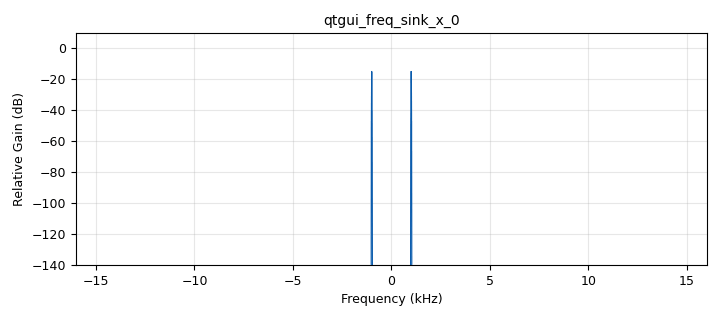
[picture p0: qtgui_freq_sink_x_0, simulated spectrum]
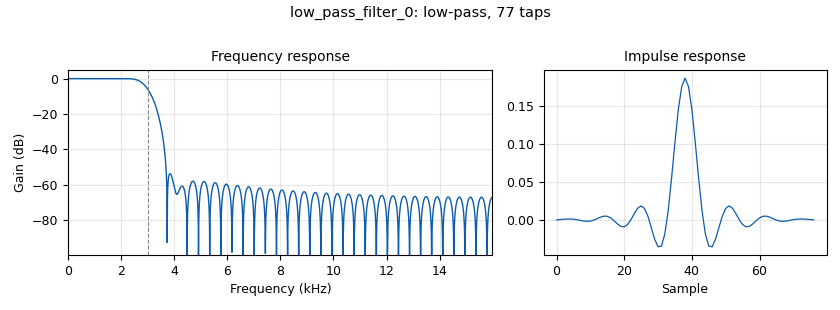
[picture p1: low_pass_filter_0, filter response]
options:
  parameters:
    generate_options: qt_gui
    id: flowgraph
    output_language: python
    title: Not titled yet
  states: {}

blocks:
- name: samp_rate
  id: variable
  parameters:
    value: '32000'
  states: {}
- name: analog_sig_source_x_0
  id: analog_sig_source_x
  parameters:
    amp: '1'
    freq: '1000'
    offset: '0'
    phase: '0'
    samp_rate: samp_rate
    type: float
    waveform: analog.GR_COS_WAVE
  states: {}
- name: analog_sig_source_x_1
  id: analog_sig_source_x
  parameters:
    amp: '1'
    freq: '1000'
    offset: '0'
    phase: '0'
    samp_rate: samp_rate
    type: float
    waveform: analog.GR_SIN_WAVE
  states: {state: disabled}
- name: blocks_complex_to_float_0
  id: blocks_complex_to_float
  parameters: {}
  states: {}
- name: blocks_complex_to_mag_0
  id: blocks_complex_to_mag
  parameters: {}
  states: {}
- name: blocks_file_source_1
  id: blocks_file_source
  parameters:
    file: C:\Users\vanes\OneDrive\Desktop\Qutip_Resonator_Demo\readout_shots_IQ_float32.bin
    repeat: 'True'
    type: complex
  states: {}
- name: blocks_float_to_complex_0
  id: blocks_float_to_complex
  parameters: {}
  states: {}
- name: blocks_keep_one_in_n_0
  id: blocks_keep_one_in_n
  parameters:
    n: '4'
    type: complex
  states: {}
- name: low_pass_filter_0
  id: low_pass_filter
  parameters:
    cutoff_freq: '3000'
    decim: '1'
    gain: '1'
    samp_rate: '32000'
    type: fir_filter_ccf
    width: '1000'
    win: window.WIN_HAMMING
  states: {}
- name: qtgui_const_sink_x_0
  id: qtgui_const_sink_x
  parameters:
    size: '1024'
    type: complex
  states: {}
- name: qtgui_freq_sink_x_0
  id: qtgui_freq_sink_x
  parameters:
    bw: samp_rate
    fc: '0'
    fftsize: '4096'
    type: complex
  states: {}
- name: qtgui_number_sink_0
  id: qtgui_number_sink
  parameters:
    graph_type: qtgui.NUM_GRAPH_HORIZ
    type: float
  states: {}
- name: qtgui_time_sink_x_0
  id: qtgui_time_sink_x
  parameters:
    grid: 'True'
    nconnections: '2'
    size: '1024'
    srate: '32000'
    type: float
  states: {}
- name: qtgui_time_sink_x_1
  id: qtgui_time_sink_x
  parameters:
    size: '1024'
    srate: samp_rate
    type: float
  states: {}

connections:
- [analog_sig_source_x_0, '0', blocks_float_to_complex_0, '0']
- [analog_sig_source_x_1, '0', blocks_float_to_complex_0, '1']
- [blocks_complex_to_float_0, '0', qtgui_time_sink_x_0, '0']
- [blocks_complex_to_float_0, '1', qtgui_time_sink_x_0, '1']
- [blocks_complex_to_mag_0, '0', qtgui_number_sink_0, '0']
- [blocks_complex_to_mag_0, '0', qtgui_time_sink_x_1, '0']
- [blocks_file_source_1, '0', low_pass_filter_0, '0']
- [blocks_float_to_complex_0, '0', qtgui_freq_sink_x_0, '0']
- [blocks_keep_one_in_n_0, '0', blocks_complex_to_float_0, '0']
- [blocks_keep_one_in_n_0, '0', blocks_complex_to_mag_0, '0']
- [blocks_keep_one_in_n_0, '0', qtgui_const_sink_x_0, '0']
- [low_pass_filter_0, '0', blocks_keep_one_in_n_0, '0']

metadata:
  file_format: 1
  grc_version: 3.10.12.0
